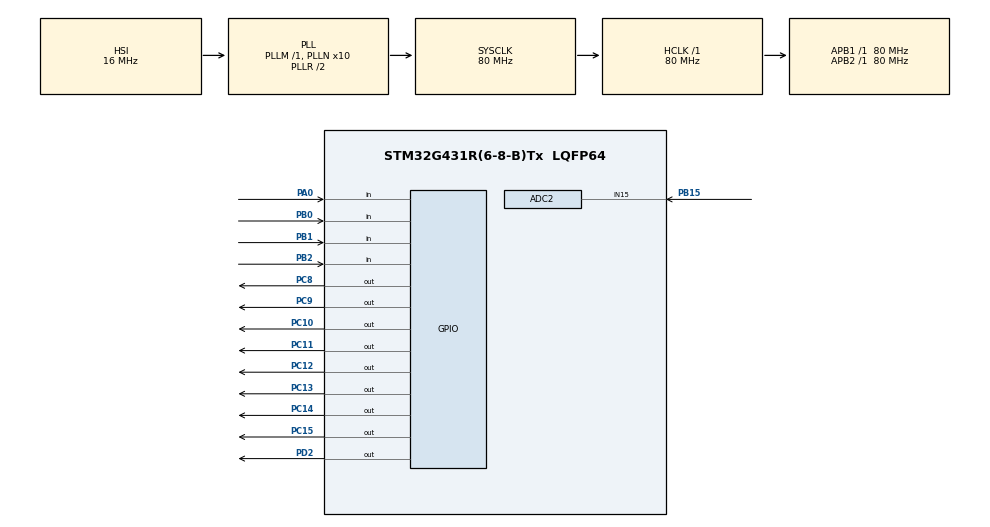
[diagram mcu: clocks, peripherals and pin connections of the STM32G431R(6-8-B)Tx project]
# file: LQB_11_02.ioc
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ADC2.Channel-0\#ChannelRegularConversion=ADC_CHANNEL_15
ADC2.NbrOfConversionFlag=1
ADC2.OffsetNumber-0\#ChannelRegularConversion=ADC_OFFSET_NONE
ADC2.Rank-0\#ChannelRegularConversion=1
ADC2.SamplingTime-0\#ChannelRegularConversion=ADC_SAMPLETIME_2CYCLES_5
Mcu.Family=STM32G4
Mcu.Name=STM32G431R(6-8-B)Tx
Mcu.Package=LQFP64
NVIC.PriorityGroup=NVIC_PRIORITYGROUP_4
NVIC.TIM1_TRG_COM_TIM17_IRQn=true\:3\:0\:true\:false\:true\:true\:true
NVIC.TIM3_IRQn=true\:3\:0\:true\:false\:true\:true\:true
PA0.Signal=GPIO_Input
PA6.Signal=S_TIM3_CH1
PA7.Signal=S_TIM17_CH1
PB0.Signal=GPIO_Input
PB1.Signal=GPIO_Input
PB15.Mode=IN15-Single-Ended
PB15.Signal=ADC2_IN15
PB2.Signal=GPIO_Input
PC10.Signal=GPIO_Output
PC11.Signal=GPIO_Output
PC12.Signal=GPIO_Output
PC13.Signal=GPIO_Output
PC14-OSC32_IN.Signal=GPIO_Output
PC15-OSC32_OUT.Signal=GPIO_Output
PC8.Signal=GPIO_Output
PC9.Signal=GPIO_Output
PD2.Signal=GPIO_Output
ProjectManager.HeapSize=0x200
ProjectManager.StackSize=0x400
ProjectManager.TargetToolchain=MDK-ARM V5.32
RCC.ADC12Freq_Value=80000000
RCC.AHBFreq_Value=80000000
RCC.APB1Freq_Value=80000000
RCC.APB1TimFreq_Value=80000000
RCC.APB2Freq_Value=80000000
RCC.APB2TimFreq_Value=80000000
RCC.CortexFreq_Value=80000000
RCC.EXTERNAL_CLOCK_VALUE=12288000
RCC.HCLKFreq_Value=80000000
RCC.HSE_VALUE=8000000
RCC.HSI48_VALUE=48000000
RCC.HSI_VALUE=16000000
RCC.LSE_VALUE=32768
RCC.PLLN=10
RCC.SYSCLKFreq_VALUE=80000000
RCC.SYSCLKSource=RCC_SYSCLKSOURCE_PLLCLK
RCC.USBFreq_Value=80000000
RCC.VCOOutputFreq_Value=160000000
SH.S_TIM17_CH1.0=TIM17_CH1
SH.S_TIM3_CH1.0=TIM3_CH1
TIM17.AutoReloadPreload=TIM_AUTORELOAD_PRELOAD_ENABLE
TIM17.Channel=TIM_CHANNEL_1
TIM17.PeriodNoDither=500
TIM17.Prescaler=799
TIM17.PulseNoDither_1=50
TIM3.AutoReloadPreload=TIM_AUTORELOAD_PRELOAD_ENABLE
TIM3.Channel-PWM\ Generation1\ No\ Output=TIM_CHANNEL_1
TIM3.PeriodNoDither=1000
TIM3.Prescaler=799
TIM3.PulseNoDither_1=100
VP_SYS_VS_DBSignals.Mode=DisableDeadBatterySignals
VP_TIM17_VS_ClockSourceINT.Mode=Enable_Timer
VP_TIM17_VS_no_output1.Mode=PWM Generation1 No Output
VP_TIM3_VS_ClockSourceINT.Mode=Internal
VP_TIM3_VS_no_output1.Mode=PWM Generation1 No Output
board=custom

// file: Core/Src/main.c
/* USER CODE BEGIN Header */
/**
  ******************************************************************************
  * @file           : main.c
  * @brief          : Main program body
  ******************************************************************************
  * @attention
  *
  * Copyright (c) 2022 STMicroelectronics.
  * All rights reserved.
  *
  * This software is licensed under terms that can be found in the LICENSE file
  * in the root directory of this software component.
  * If no LICENSE file comes with this software, it is provided AS-IS.
  *
  ******************************************************************************
  */
/* USER CODE END Header */
#include "main.h"
#include "adc.h"
#include "tim.h"
#include "gpio.h"

/* USER CODE BEGIN Includes */
#include "lcd.h"
#include "stdio.h"
/* USER CODE END Includes */

/* USER CODE BEGIN PV */
__IO uint32_t uwTick_Lcd_Set_Point;
__IO uint32_t uwTick_Key_Set_Point;
__IO uint32_t uwTick_ADC_Set_Point;
__IO uint32_t uwTick_Led_Set_Point;

unsigned char pucStr_Disp[21];
unsigned char ucKey_Val, ucKey_Down, ucKey_Old;
unsigned char ucState, ucState_1;
unsigned char ucModel, ucPWM_State;
double duty_1, duty_2;
uint32_t Compare_1, Compare_2;
double ADC_Value;
unsigned char ucLed = 3;
uint16_t PA6_Duty_Int = 10;
uint16_t PA7_Duty_Int = 10;
/* USER CODE END PV */

void SystemClock_Config(void);
/* USER CODE BEGIN PFP */
void Lcd_Proc(void);
void Key_Proc(void);
void PWM_Proc(void);
void ADC_Proc(void);
void Led_Proc(void);
/* USER CODE END PFP */

int main(void)
{

  /* MCU Configuration--------------------------------------------------------*/

  /* Reset of all peripherals, Initializes the Flash interface and the Systick. */
  HAL_Init();

  /* Configure the system clock */
  SystemClock_Config();

  /* Initialize all configured peripherals */
  MX_GPIO_Init();
  MX_ADC2_Init();
  MX_TIM3_Init();
  MX_TIM17_Init();
  /* USER CODE BEGIN 2 */
	LCD_Init();
	LCD_Clear(Black);
	LCD_SetBackColor(Black);
	LCD_SetTextColor(White);

	__HAL_TIM_SET_COMPARE(&htim17, TIM_CHANNEL_1, 50);
	HAL_TIM_PWM_Start(&htim17, TIM_CHANNEL_1);
	__HAL_TIM_SET_COMPARE(&htim3, TIM_CHANNEL_1, 100);
	HAL_TIM_PWM_Start(&htim3, TIM_CHANNEL_1);
  /* USER CODE END 2 */

  /* Infinite loop */
  while (1)
  {

    /* USER CODE BEGIN 3 */
		Lcd_Proc();
		Key_Proc();
		ADC_Proc();
		PWM_Proc();
		Led_Proc();
  }
  /* USER CODE END 3 */
}

void SystemClock_Config(void)
{
  RCC_OscInitTypeDef RCC_OscInitStruct = {0};
  RCC_ClkInitTypeDef RCC_ClkInitStruct = {0};

  /** Configure the main internal regulator output voltage
  */
  HAL_PWREx_ControlVoltageScaling(PWR_REGULATOR_VOLTAGE_SCALE1);
  /** Initializes the RCC Oscillators according to the specified parameters
  * in the RCC_OscInitTypeDef structure.
  */
  RCC_OscInitStruct.OscillatorType = RCC_OSCILLATORTYPE_HSI;
  RCC_OscInitStruct.HSIState = RCC_HSI_ON;
  RCC_OscInitStruct.HSICalibrationValue = RCC_HSICALIBRATION_DEFAULT;
  RCC_OscInitStruct.PLL.PLLState = RCC_PLL_ON;
  RCC_OscInitStruct.PLL.PLLSource = RCC_PLLSOURCE_HSI;
  RCC_OscInitStruct.PLL.PLLM = RCC_PLLM_DIV1;
  RCC_OscInitStruct.PLL.PLLN = 10;
  RCC_OscInitStruct.PLL.PLLP = RCC_PLLP_DIV2;
  RCC_OscInitStruct.PLL.PLLQ = RCC_PLLQ_DIV2;
  RCC_OscInitStruct.PLL.PLLR = RCC_PLLR_DIV2;
  if (HAL_RCC_OscConfig(&RCC_OscInitStruct) != HAL_OK)
  {
    Error_Handler();
  }
  /** Initializes the CPU, AHB and APB buses clocks
  */
  RCC_ClkInitStruct.ClockType = RCC_CLOCKTYPE_HCLK|RCC_CLOCKTYPE_SYSCLK
                              |RCC_CLOCKTYPE_PCLK1|RCC_CLOCKTYPE_PCLK2;
  RCC_ClkInitStruct.SYSCLKSource = RCC_SYSCLKSOURCE_PLLCLK;
  RCC_ClkInitStruct.AHBCLKDivider = RCC_SYSCLK_DIV1;
  RCC_ClkInitStruct.APB1CLKDivider = RCC_HCLK_DIV1;
  RCC_ClkInitStruct.APB2CLKDivider = RCC_HCLK_DIV1;

  if (HAL_RCC_ClockConfig(&RCC_ClkInitStruct, FLASH_LATENCY_2) != HAL_OK)
  {
    Error_Handler();
  }
}

/* USER CODE BEGIN 4 */
void Lcd_Proc(void)
{
	if((uwTick - uwTick_Lcd_Set_Point) <= 100)
		return;

	uwTick_Lcd_Set_Point = uwTick;

	if(!ucState)
	{
		LCD_DisplayStringLine(Line0, (u8*)"      Data          ");
		sprintf((char*)pucStr_Disp, "    V:%3.2lfV         ", ADC_Value);
		LCD_DisplayStringLine(Line2, (u8*)pucStr_Disp);
		if(ucPWM_State >= 1)
			LCD_DisplayStringLine(Line4, (u8*)"    Mode:AUTO       ");
		else
			LCD_DisplayStringLine(Line4, (u8*)"    Mode:MANU       ");
	}
	else
	{
		LCD_DisplayStringLine(Line0, (u8*)"      Para          ");
		sprintf((char*)pucStr_Disp, "    PA6:%2u%%         ", PA6_Duty_Int);
		LCD_DisplayStringLine(Line2, (u8*)pucStr_Disp);
		sprintf((char*)pucStr_Disp, "    PA7:%2u%%         ", PA7_Duty_Int);
		LCD_DisplayStringLine(Line4, (u8*)pucStr_Disp);
	}
}

void Key_Proc(void)
{
	if((uwTick - uwTick_Key_Set_Point) <= 50)
		return;

	uwTick_Key_Set_Point = uwTick;

	ucKey_Val = Key_Scan();
	ucKey_Down = ucKey_Val & (ucKey_Val ^ ucKey_Old);
	ucKey_Old = ucKey_Val;

	switch(ucKey_Down)
	{
		case 1:
			if(!ucState)
			{
				ucState = 1;
			}
			else
			{
				ucState = 0;
			}
		break;

		case 2:
			if(ucState)
			{
				PA6_Duty_Int += 10;
				if(PA6_Duty_Int >= 110)
					PA6_Duty_Int = 10;
			}
		break;

		case 3:
			if(ucState)
			{
				PA7_Duty_Int += 10;
				if(PA7_Duty_Int >= 110)
					PA7_Duty_Int = 10;
			}
			else
			{
				if(ucPWM_State == 0)
					ucPWM_State = 1;
				else if(ucPWM_State == 1)
					ucPWM_State = 0;
				else if(ucPWM_State == 2)
					ucPWM_State = 3;
				else if(ucPWM_State == 3)
					ucPWM_State = 2;
			}
		break;

		case 4:
			if(ucPWM_State == 0)
				ucPWM_State = 2;
			else if(ucPWM_State == 2)
				ucPWM_State = 0;
			else if(ucPWM_State == 1)
				ucPWM_State = 3;
			else if(ucPWM_State == 3)
				ucPWM_State = 1;
		break;
	}
}

void ADC_Proc(void)
{
	if((uwTick - uwTick_ADC_Set_Point) <= 50)
		return;

	uwTick_ADC_Set_Point = uwTick;

	ADC_Value = (double)ADC2_Get() * 3.3 / 4095;
}

void PWM_Proc(void)
{
	switch(ucPWM_State)
	{
		case 0:
			__HAL_TIM_SET_AUTORELOAD(&htim3, 1000);	//PA6（绿色）的频率为100hz
			__HAL_TIM_SET_AUTORELOAD(&htim17, 500);//PA7（黄色）的频率为200hz

			__HAL_TIM_SET_COMPARE(&htim3, TIM_CHANNEL_1, PA6_Duty_Int * 10);//PA6（绿色）的占空比跟随设置
			__HAL_TIM_SET_COMPARE(&htim17, TIM_CHANNEL_1, PA7_Duty_Int * 5);//PA7（黄色）的占空比跟随设置
		break;

		case 1:
			__HAL_TIM_SET_AUTORELOAD(&htim3, 500);	//PA6（绿色）的频率为200hz
			__HAL_TIM_SET_AUTORELOAD(&htim17, 1000);//PA7（黄色）的频率为100hz

			__HAL_TIM_SET_COMPARE(&htim3, TIM_CHANNEL_1, PA6_Duty_Int * 5);//PA6（绿色）的占空比跟随设置
			__HAL_TIM_SET_COMPARE(&htim17, TIM_CHANNEL_1, PA7_Duty_Int * 10);//PA7（黄色）的占空比跟随设置
		break;

		case 2:
			__HAL_TIM_SET_AUTORELOAD(&htim3, 1000);	//PA6（绿色）的频率为100hz
			__HAL_TIM_SET_AUTORELOAD(&htim17, 500);//PA7（黄色）的频率为200hz

			__HAL_TIM_SET_COMPARE(&htim3, TIM_CHANNEL_1, ADC_Value / 3.3 * 1000);//PA6（绿色）的占空比跟随设置
			__HAL_TIM_SET_COMPARE(&htim17, TIM_CHANNEL_1, ADC_Value / 3.3 * 500);//PA7（黄色）的占空比跟随设置
		break;

		case 3:
			__HAL_TIM_SET_AUTORELOAD(&htim3, 500);	//PA6（绿色）的频率为100hz
			__HAL_TIM_SET_AUTORELOAD(&htim17, 1000);//PA7（黄色）的频率为200hz

			__HAL_TIM_SET_COMPARE(&htim3, TIM_CHANNEL_1, ADC_Value / 3.3 * 500);//PA6（绿色）的占空比跟随设置
			__HAL_TIM_SET_COMPARE(&htim17, TIM_CHANNEL_1, ADC_Value / 3.3 * 1000);//PA7（黄色）的占空比跟随设置
		break;
	}
}

void Led_Proc(void)
{
	if((uwTick - uwTick_Led_Set_Point) <= 100)
		return;

	uwTick_Led_Set_Point = uwTick;

	if(ucPWM_State <= 1)
		ucLed &= ~0x01;
	else
		ucLed |= 0x01;
	if(!ucState)
		ucLed |= 0x02;
	else
		ucLed &= ~0x02;

	Led_Disp(ucLed);
}
/* USER CODE END 4 */

void Error_Handler(void)
{
  __disable_irq();
  while (1)
  {
  }
}
